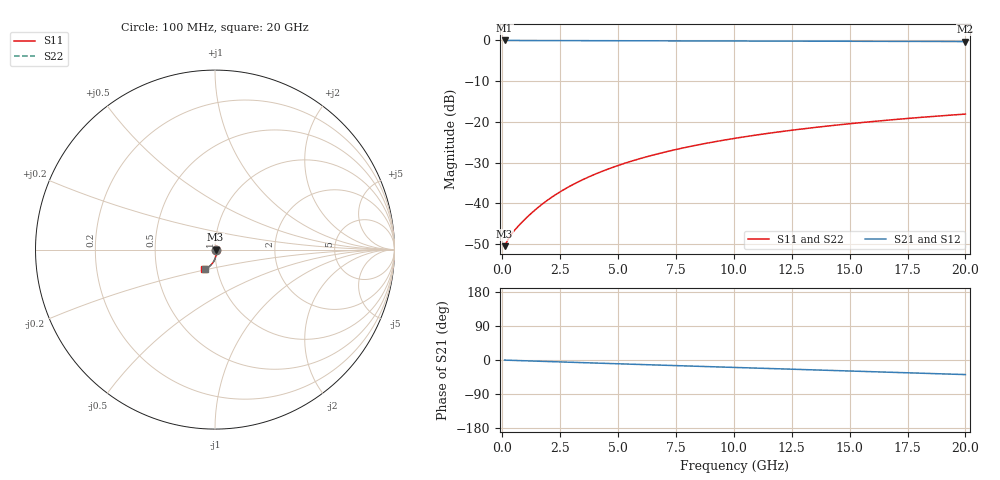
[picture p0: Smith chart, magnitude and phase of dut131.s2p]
! Touchstone file exported from HFSS 2026.1.0
!  File:  C:/ffzhzh/LocalFiles/Ansys_Project_Files/temp_train_BSMRDL_131_1782986240_40604.aedt
!  Generated:  05:58:28 PM Jul  2, 2026
!  Design:  BSMRDL
!  Project:  temp_train_BSMRDL_131_1782986240_40604
! Variables:
!  h_bsmrdl = 5.56um
!  h_ox = 20um
!  h_rdl = 5um
!  h_sub = 80um
!  h_tmrdl = 5um
!  h_tsv = 80um
!  h_via = 3um
!  l_bsmrdl = 689.28um
!  l_sub = 1089.28um
!  l_tmrdl = 200um
!  m_sub = 200um
!  pitch = 19.07um
!  r_tsv = 6um
!  s_tmrdl = 10um
!  w_bsmrdl = 15.99um
!  w_sub = 500um
!  w_tmrdl = 12um
!  x_tsv_center1 = 206um
!  x_tsv_center2 = 911.27um
!  x_tsv_center3 = 1123.27um
!  x_tsv_center4 = 1828.54um
!  x_tsv_center5 = 2040.54um
!  x_tsv_center6 = 2745.81um
# GHz S MA R 50.000000
! Terminal data exported
! Port[1] = BSM_RDL1_1_T1
! Port[2] = BSM_RDL1_1_T2
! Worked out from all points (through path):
!   200 points, 100 MHz to 20 GHz, reference 50 ohm
!   highest |S21| = -0.03 dB at 100 MHz (marker M1); lowest = -0.3 dB at 20 GHz (marker M2)
!   group delay of S21, straight-line fit = 5.31 ps
!   lowest |S11| = -50.5 dB at 100 MHz (marker M3), VSWR 1.01, Z = 50.3 + j0.0127 ohm
!   |S11| at or under -10 dB: start of sweep to end of sweep
!   |S22| runs from -50.5 to -18.1 dB; largest |S21 - S12| = 3.7e-15
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0.1  0.002992 2.4  0.997 -0.2  0.997 -0.2  0.002992 2.4
! Gamma 0 0 0 0
! Port Impedance 50 0 50 0
0.2  0.003408 -0.2  0.9966 -0.5  0.9966 -0.5  0.003408 -0.2
0.3  0.003833 -6.0  0.9962 -0.7  0.9962 -0.7  0.003833 -6.0
0.4  0.00422 -12.5  0.9959 -0.9  0.9959 -0.9  0.00422 -12.5
0.5  0.004584 -18.7  0.9956 -1.1  0.9956 -1.1  0.004584 -18.7
0.9  0.006081 -37.6  0.9951 -1.9  0.9951 -1.9  0.006081 -37.6
1.4  0.008248 -51.3  0.9945 -2.9  0.9945 -2.9  0.008248 -51.3
1.9  0.01069 -59.3  0.9939 -3.9  0.9939 -3.9  0.01069 -59.3
2.4  0.01334 -64.5  0.9932 -4.9  0.9932 -4.9  0.01334 -64.5
2.9  0.01616 -68.3  0.9924 -5.9  0.9924 -5.9  0.01616 -68.3
3.5  0.01972 -71.9  0.9914 -7.1  0.9914 -7.1  0.01972 -71.9
4.2  0.02406 -75.3  0.9902 -8.5  0.9902 -8.5  0.02406 -75.3
5  0.02921 -78.7  0.9889 -10.0  0.9889 -10.0  0.02921 -78.7
5.9  0.03514 -82.1  0.9875 -11.8  0.9875 -11.8  0.03514 -82.0
6.8  0.04116 -85.2  0.9861 -13.5  0.9861 -13.5  0.04116 -85.1
8.3  0.05124 -89.9  0.9839 -16.4  0.9839 -16.4  0.05125 -89.8
10.1  0.06328 -94.9  0.9814 -19.8  0.9814 -19.8  0.06329 -94.9
11.7  0.07383 -99.1  0.9792 -22.8  0.9792 -22.8  0.07384 -99.1
13.4  0.08483 -103.3  0.9769 -26.1  0.9769 -26.1  0.08484 -103.3
15  0.09495 -107.0  0.9746 -29.1  0.9746 -29.1  0.09496 -107.0
16.7  0.1054 -110.9  0.9721 -32.3  0.9721 -32.3  0.1054 -110.8
20  0.1247 -118.0  0.9672 -38.5  0.9672 -38.5  0.1247 -117.9
